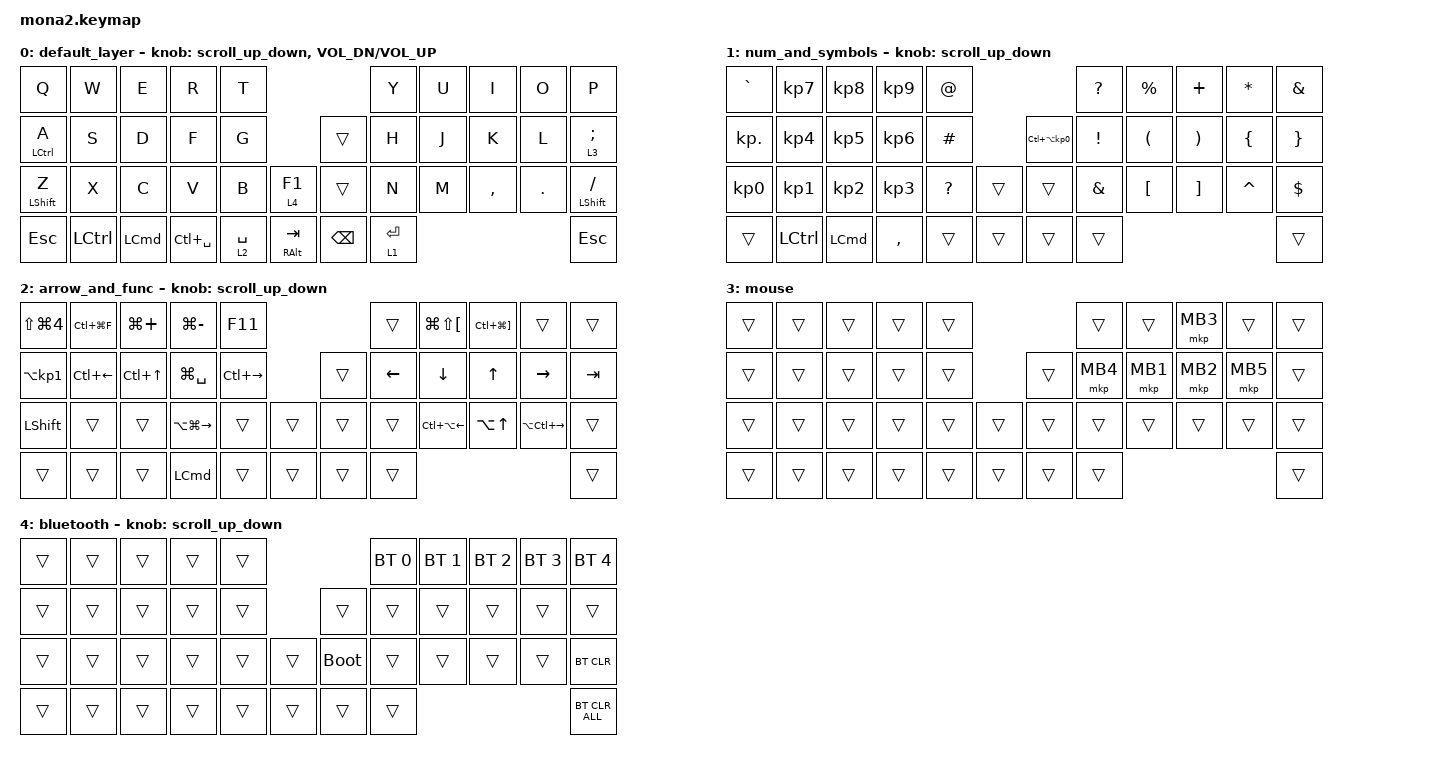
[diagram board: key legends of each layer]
#include <behaviors.dtsi>
#include <dt-bindings/zmk/bt.h>
#include <dt-bindings/zmk/keys.h>
#include <dt-bindings/zmk/pointing.h>

#define ZMK_POINTING_DEFAULT_SCRL_VAL 100
#define MOUSE 6

&mt {
    flavor = "balanced";
    quick-tap-ms = <0>;
};

/ {
    combos {
        compatible = "zmk,combos";

        minus {
            bindings = <&kp MINUS>;
            key-positions = <8 7>;
        };

        eq {
            bindings = <&kp EQUAL>;
            key-positions = <7 19>;
        };

        single_quotation {
            bindings = <&kp SINGLE_QUOTE>;
            key-positions = <20 19>;
        };

        double_quotation {
            bindings = <&kp DOUBLE_QUOTES>;
            key-positions = <19 18>;
        };

        back_slash {
            bindings = <&kp BACKSLASH>;
            key-positions = <31 30>;
        };

        grave {
            bindings = <&kp TILDE>;
            key-positions = <1 2>;
        };

        eq2 {
            bindings = <&kp KP_EQUAL>;
            key-positions = <8 9>;
        };

        dollar {
            bindings = <&kp DOLLAR>;
            key-positions = <30 29>;
        };

        caret {
            bindings = <&kp CARET>;
            key-positions = <24 23>;
        };

        hash {
            bindings = <&kp HASH>;
            key-positions = <23 22>;
        };
    };

    macros {
        to_layer_0: to_layer_0 {
            compatible = "zmk,behavior-macro-one-param";
            #binding-cells = <1>;
            bindings = <&to 1 &macro_param_1to1 &kp MACRO_PLACEHOLDER>;
            label = "TO_LAYER_0";
        };
    };

    behaviors {
        lt_to_layer_0: lt_to_layer_0 {
            compatible = "zmk,behavior-hold-tap";
            label = "LAYER_TAP_TO_0";
            bindings = <&mo>, <&to_layer_0>;

            #binding-cells = <2>;
            tapping-term-ms = <200>;
        };

        scroll_up_down: behavior_sensor_rotate_mouse_wheel_up_down {
            compatible = "zmk,behavior-sensor-rotate";
            #sensor-binding-cells = <0>;
            bindings = <&msc SCRL_UP>, <&msc SCRL_DOWN>;

            tap-ms = <20>;
        };
    };

    keymap {
        compatible = "zmk,keymap";

        default_layer {
            bindings = <
&kp Q               &kp W             &kp E             &kp R          &kp T                                            &kp Y        &kp U  &kp I      &kp O       &kp P
&mt LEFT_CONTROL A  &kp S             &kp D             &kp F          &kp G                             &trans         &kp H        &kp J  &kp K      &kp L       &lt 3 SEMI
&mt LSHIFT Z        &kp X             &kp C             &kp V          &kp B        &lt 4 F1             &trans         &kp N        &kp M  &kp COMMA  &kp PERIOD  &mt LEFT_SHIFT SLASH
&kp ESC             &kp LEFT_CONTROL  &kp LEFT_COMMAND  &kp LC(SPACE)  &lt 2 SPACE  &mt RIGHT_ALT TAB    &kp BACKSPACE  &lt 1 ENTER                                &kp ESC
            >;

            sensor-bindings =
                <&scroll_up_down>,
                <&inc_dec_kp C_VOL_DN C_VOL_UP>;
        };

        num_and_symbols {
            bindings = <
&kp GRAVE   &kp KP_NUMBER_7   &kp KP_NUMBER_8   &kp KP_NUMBER_9  &kp AT                                           &kp QUESTION   &kp PERCENT           &kp PLUS               &kp ASTERISK    &kp AMPERSAND
&kp KP_DOT  &kp KP_NUMBER_4   &kp KP_NUMBER_5   &kp KP_NUMBER_6  &kp HASH                &kp LC(LA(KP_NUMBER_0))  &kp EXCL       &kp LEFT_PARENTHESIS  &kp RIGHT_PARENTHESIS  &kp LEFT_BRACE  &kp RIGHT_BRACE
&kp KP_N0   &kp KP_N1         &kp KP_N2         &kp KP_N3        &kp QUESTION  &trans    &trans                   &kp AMPERSAND  &kp LEFT_BRACKET      &kp RIGHT_BRACKET      &kp CARET       &kp DOLLAR
&trans      &kp LEFT_CONTROL  &kp LEFT_COMMAND  &kp COMMA        &trans        &trans    &trans                   &trans                                                                      &trans
            >;

            sensor-bindings = <&scroll_up_down>;
        };

        arrow_and_func {
            bindings = <
&kp LS(LG(NUMBER_4))  &kp LC(LG(F))       &kp LG(PLUS)      &kp LG(MINUS)            &kp F11                                &trans          &kp LG(LS(LEFT_BRACKET))  &kp LC(LG(RIGHT_BRACKET))  &trans                   &trans
&kp LA(KP_NUMBER_1)   &kp LC(LEFT_ARROW)  &kp LC(UP_ARROW)  &kp LG(SPACE)            &kp LC(RIGHT_ARROW)            &trans  &kp LEFT_ARROW  &kp DOWN_ARROW            &kp UP_ARROW               &kp RIGHT_ARROW          &kp TAB
&kp LEFT_SHIFT        &trans              &trans            &kp LA(LG(RIGHT_ARROW))  &trans               &trans    &trans  &trans          &kp LC(LA(LEFT_ARROW))    &kp LA(UP_ARROW)           &kp LA(LC(RIGHT_ARROW))  &trans
&trans                &trans              &trans            &kp LEFT_COMMAND         &trans               &trans    &trans  &trans                                                                                        &trans
            >;

            sensor-bindings = <&scroll_up_down>;
        };

        mouse {
            bindings = <
&trans  &trans  &trans  &trans  &trans                    &trans    &trans    &mkp MB3  &trans    &trans
&trans  &trans  &trans  &trans  &trans            &trans  &mkp MB4  &mkp MB1  &mkp MB2  &mkp MB5  &trans
&trans  &trans  &trans  &trans  &trans  &trans    &trans  &trans    &trans    &trans    &trans    &trans
&trans  &trans  &trans  &trans  &trans  &trans    &trans  &trans                                  &trans
            >;
        };

        bluetooth {
            bindings = <
&trans  &trans  &trans  &trans  &trans                         &bt BT_SEL 0  &bt BT_SEL 1  &bt BT_SEL 2  &bt BT_SEL 3  &bt BT_SEL 4
&trans  &trans  &trans  &trans  &trans            &trans       &trans        &trans        &trans        &trans        &trans
&trans  &trans  &trans  &trans  &trans  &trans    &bootloader  &trans        &trans        &trans        &trans        &bt BT_CLR
&trans  &trans  &trans  &trans  &trans  &trans    &trans       &trans                                                  &bt BT_CLR_ALL
            >;

            sensor-bindings = <&scroll_up_down>;
        };
    };
};
